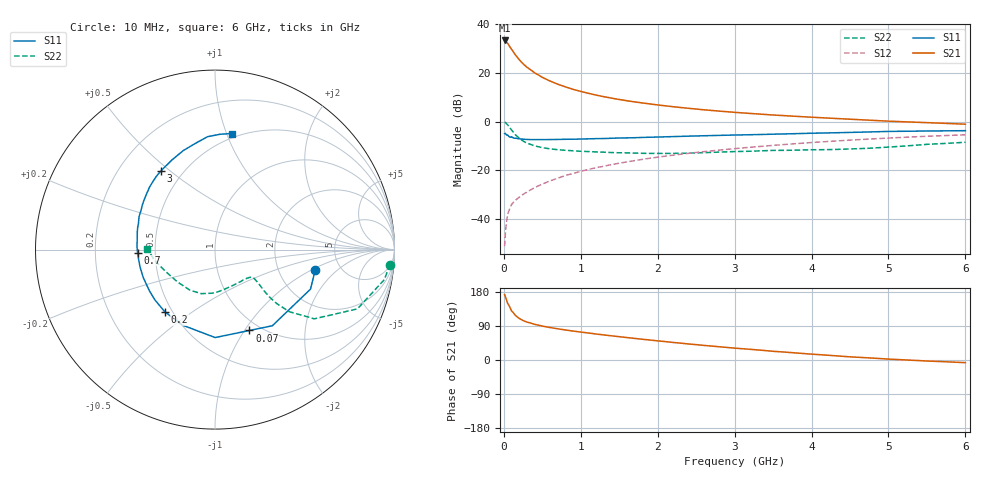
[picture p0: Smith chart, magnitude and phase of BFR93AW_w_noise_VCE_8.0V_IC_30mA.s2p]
! Infineon Technologies  Discrete & RF Semiconductors
! BFR93AW
! VCE =  8.0 V,  IC =  30 mA
! Common Emitter S-Parameters:  Jan 2017
# GHz  S  MA  R  50
!  f  S11  S21  S12  S22
! GHz  MAG  ANG  MAG  ANG  MAG  ANG  MAG  ANG
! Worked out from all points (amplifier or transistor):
!   77 points, 10 MHz to 6 GHz, reference 50 ohm
!   highest |S21| = 33.3 dB at 10 MHz (marker M1)
!   |S21| within 3 dB of that: start of sweep to 86.76 MHz
!   unconditionally stable (mu >= 1): 616.6 MHz to 2.019 GHz
!   at 130 MHz: K = 0.50, MSG = 30.6 dB, |S12| = -32.9 dB
!   at 2.2 GHz: K = 0.99, MSG = 9.9 dB, |S12| = -13.8 dB
!   at 6 GHz: K = 0.87, MSG = 2.2 dB, |S12| = -5.4 dB
!   lowest NFmin = 1.79 dB at 450 MHz
!   S11 on the Smith chart (normalised r, x): 10 MHz: 3.26, -1.08; 70 MHz: 0.89, -1.05; 200 MHz: 0.46, -0.39; 700 MHz: 0.40, -0.02; 3 GHz: 0.38, +0.46; 6 GHz: 0.46, +1.04
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0.01  0.5701 -11.3  46.16 172.8  0.0028 87.9  0.9774 -4.9
0.02  0.5758 -22.5  45.57 166.6  0.0051 83.9  0.9586 -10.0
0.05  0.5311 -53.0  40.28 149.3  0.0125 69.8  0.8596 -22.6
0.07  0.4898 -66.9  35.89 142.7  0.0155 66.3  0.7814 -26.8
0.1  0.4901 -89.9  30.51 129.4  0.02 63.1  0.6743 -34.9
0.13  0.4612 -103.8  26.09 123.0  0.0226 60.3  0.5927 -37.6
0.15  0.4582 -113.6  23.37 117.5  0.0243 58.8  0.5393 -39.9
0.2  0.4451 -128.9  18.61 109.7  0.0283 59.3  0.4554 -41.2
0.25  0.4368 -140.0  15.38 104.1  0.0323 60.6  0.4011 -41.0
0.3  0.4316 -147.9  13.03 100.1  0.0359 62.0  0.3627 -40.2
0.4  0.4289 -158.9  10.02 94.0  0.0443 65.3  0.3187 -38.4
0.5  0.4287 -166.9  8.091 89.5  0.0524 66.4  0.2929 -37.3
0.7  0.4317 -177.8  5.864 82.4  0.0691 69.4  0.2663 -36.5
0.9  0.4362 173.8  4.593 76.4  0.0866 69.4  0.2526 -37.7
1.1  0.444 167.1  3.805 71.2  0.1048 69.9  0.2435 -40.3
1.5  0.4617 156.2  2.843 61.5  0.1405 68.5  0.23 -48.0
2.1  0.4882 142.2  2.109 48.5  0.1961 64.6  0.223 -65.6
3  0.5318 124.7  1.551 31.3  0.2796 57.3  0.2436 -93.9
3.1  0.5351 122.9  1.512 29.8  0.2887 56.3  0.2452 -96.8
4.1  0.5826 106.4  1.209 14.1  0.3817 46.4  0.2657 -125.6
5.1  0.6324 92.5  1.009 1.4  0.4687 35.6  0.3079 -159.3
6  0.6533 81.9  0.887 -7.0  0.5373 25.4  0.3774 179.1
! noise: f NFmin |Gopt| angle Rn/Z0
0.45  1.79  0.18  173  0.16
0.9  2.06  0.26  -175  0.16
1.9  3.1  0.5  -135  0.29
2.4  3.75  0.55  -124  0.55
